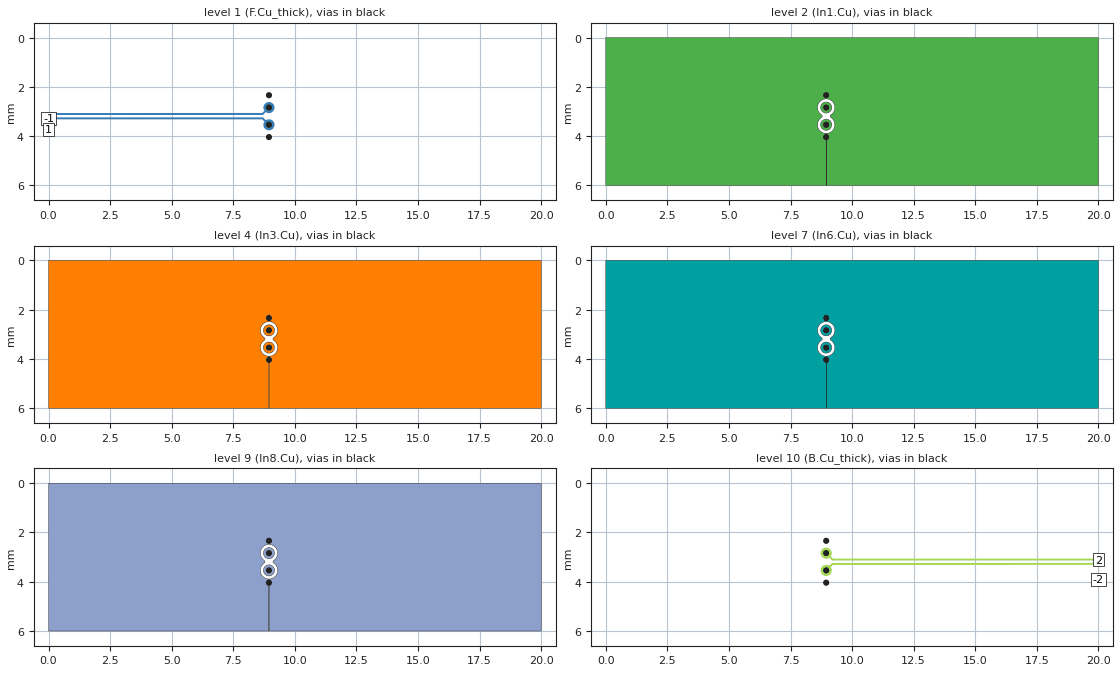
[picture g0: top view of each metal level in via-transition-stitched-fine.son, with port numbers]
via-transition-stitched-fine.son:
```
FTYP SONPROJ 19 ! Sonnet Project File
VER 18.56
HEADER
LIC antikernel2.1.52448
DAT 12/26/2023 09:36:40
BUILT_BY_CREATED xgeom 18.52 11/18/2021 20:28:07
BUILT_BY_SAVED sonnet 18.56
MDATE 12/26/2023 09:36:40
HDATE 12/26/2023 09:36:40
ANN Created by dxfgeo, Sonnet Software Inc.
END HEADER
DIM
ANG DEG
CAP PF
CON /OH
FREQ GHZ
IND NH
LNG MM
RES OH
END DIM
CONTROL
VARSWP
OPTIONS  -dj
SPEED 1
CACHE_ABS 2
Q_ACC N
END CONTROL
GEO
TMET "Free Space" 0 FREESPACE 376.7303136 0 0 0
BMET "Free Space" 0 FREESPACE 376.7303136 0 0 0
MET "Copper_1oz_thin" 1 NOR 58000000 0.5 0.035 
MET "Copper_1oz_thick" 2 TMM 58000000 0.5 0.035 2
MET "Copper_1oz_thick_down" 3 TMM 58000000 0.5 0.035 2 CDVY TDWN
MET "Copper_0.5oz_thin" 4 NOR 58000000 0.5 0.017 
MET "Copper_0.5oz_thick" 12 TMM 58000000 0.5 0.017 2
MET "Copper_0.5oz_thick_down" 5 TMM 58000000 0.5 0.017 2 CDVY TDWN
BOX 12 20 6 4000 1200 20 0
      5 1 1 0 0 0 0 "Air"
      0.04 3.5 1 0.025 0 0 0 "Soldermask"
      0.071 3.9 1 0.008 0 0 0 "TU-872_SLK"
      0.1 3.9 1 0.008 0 0 0 "TU-872_SLK"
      0.119 3.9 1 0.008 0 0 0 "TU-872_SLK"
      0.1 4.49 1 0.016 0 0 0 "Shengyi_S1000-2M"
      0.5 4.49 1 0.016 0 0 0 "Shengyi_S1000-2M"
      0.1 4.49 1 0.016 0 0 0 "Shengyi_S1000-2M"
      0.119 3.9 1 0.008 0 0 0 "TU-872_SLK"
      0.1 3.9 1 0.008 0 0 0 "TU-872_SLK"
      0.071 3.9 1 0.008 0 0 0 "TU-872_SLK"
      0.04 3.5 1 0.025 0 0 0 "Soldermask"
      5 1 1 0 0 0 0 "Air"
TECHLAY VIA Via1 L4D0 -13 -65534 CAD Via1 drawing 
VIA POLYGON
1 0 -1 N 343 1 1 100 100 0 0 0 Y
TOLEVEL 10 RING NOCOVERS
END
END
TECHLAY METAL F.Cu_thick L1D0 -2 -65534 CAD F.Cu_thick drawing 
1 0 1 N 185 1 1 100 100 0 0 0 Y
END
END
TECHLAY METAL F.Cu_thin <UNSPECIFIED> -1 -65534 CAD F.Cu_thin drawing 
1 0 0 N 187 1 1 100 100 0 0 0 Y
END
END
TECHLAY METAL In1.Cu L2D0 -3 -65534 CAD In1.Cu drawing 
2 0 0 N 190 1 1 100 100 0 0 0 Y
END
END
TECHLAY METAL In2.Cu_thick <UNSPECIFIED> -5 -65534 CAD In2.Cu_thick drawing 
3 0 4 N 193 1 1 100 100 0 0 0 Y
END
END
TECHLAY METAL In2.Cu_thin <UNSPECIFIED> -4 -65534 CAD In2.Cu drawing 
3 0 3 N 195 1 1 100 100 0 0 0 Y
END
END
TECHLAY METAL In3.Cu <UNSPECIFIED> -6 -65534 CAD In3.Cu drawing 
4 0 0 N 198 1 1 100 100 0 0 0 Y
END
END
TECHLAY METAL In4.Cu <UNSPECIFIED> -7 -65534 CAD In4.Cu drawing 
5 0 0 N 201 1 1 100 100 0 0 0 Y
END
END
TECHLAY METAL In5.Cu <UNSPECIFIED> -14 -65534 
6 0 0 N 204 1 1 100 100 0 0 0 Y
END
END
TECHLAY METAL In6.Cu <UNSPECIFIED> -15 -65534 
7 0 0 N 207 1 1 100 100 0 0 0 Y
END
END
TECHLAY METAL In7.Cu_thick <UNSPECIFIED> -9 -65534 CAD In5.Cu_thick drawing 
8 0 5 N 210 1 1 100 100 0 0 0 Y
END
END
TECHLAY METAL In7.Cu_thin <UNSPECIFIED> -8 -65534 CAD In5.Cu drawing 
8 0 3 N 212 1 1 100 100 0 0 0 Y
END
END
TECHLAY METAL In8.Cu <UNSPECIFIED> -10 -65534 CAD In6.Cu drawing 
9 0 0 N 215 1 1 100 100 0 0 0 Y
END
END
TECHLAY METAL B.Cu_thick L3D0 -12 -65534 CAD B.Cu_thick drawing 
10 0 2 N 218 1 1 100 100 0 0 0 Y
END
END
TECHLAY METAL B.Cu_thin <UNSPECIFIED> -11 -65534 CAD B.Cu_thin drawing 
10 0 0 N 220 1 1 100 100 0 0 0 Y
END
END
VALVAR CORE_ER NONE "table1(\"../../sata-sniffer/sims/core_er.csv\",FREQ)" "Variable set in material file"
VALVAR CORE_DF NONE "table1(\"../../sata-sniffer/sims/core_df.csv\",FREQ)" "Variable set in material file"
VALVAR PREPREG_DF NONE "table1(\"../../sata-sniffer/sims/prepreg_df.csv\",FREQ)" "Variable set in material file"
VALVAR PREPREG_ER NONE "table1(\"../../sata-sniffer/sims/prepreg_er.csv\",FREQ)" "Variable set in material file"
LORGN 0 6 U 
POR1 BOX
POLY 235 1
34
-1 100 0 0 0 0 3.275166449 
POR1 BOX
POLY 234 1
39
1 100 0 0 0 0 3.100833551 
POR1 BOX
POLY 281 1
71
2 100 0 0 0 20 3.100806041 
POR1 BOX
POLY 282 1
23
-2 100 0 0 0 20 3.27511874 
NUM 20
1 78 1 N 235 1 1 100 100 0 0 0 Y
TLAYNAM F.Cu_thick INH
9.171 3.505
9.166 3.483
9.16 3.462
9.151 3.442
9.141 3.422
9.129 3.404
9.115 3.387
9.099 3.371
9.082 3.357
9.064 3.345
9.044 3.335
9.024 3.326
9.003 3.32
8.981 3.315
8.959 3.313
8.937 3.313
8.915 3.315
8.893 3.32
8.872 3.326
8.852 3.335
8.832 3.345
8.819 3.353
8.72 3.254
8.718 3.251
8.715 3.249
8.712 3.246
8.709 3.244
8.705 3.242
8.702 3.241
8.701 3.241
8.698 3.24
8.69 3.238
8.686 3.238
8.682 3.239
0 3.235680626
0 3.314652272
8.672 3.318
8.763 3.409
8.755 3.422
8.745 3.442
8.736 3.462
8.73 3.483
8.725 3.505
8.723 3.527
8.723 3.549
8.725 3.571
8.73 3.593
8.736 3.614
8.745 3.634
8.755 3.654
8.767 3.672
8.781 3.689
8.797 3.705
8.814 3.719
8.832 3.731
8.852 3.741
8.872 3.75
8.893 3.756
8.915 3.761
8.937 3.763
8.959 3.763
8.981 3.761
9.003 3.756
9.024 3.75
9.044 3.741
9.064 3.731
9.082 3.719
9.099 3.705
9.115 3.689
9.129 3.672
9.141 3.654
9.151 3.634
9.16 3.614
9.166 3.593
9.171 3.571
9.173 3.549
9.173 3.527
9.171 3.505
END
1 76 1 N 234 1 1 100 100 0 0 0 Y
TLAYNAM F.Cu_thick INH
9.171 2.805
9.166 2.783
9.16 2.762
9.151 2.742
9.141 2.722
9.129 2.704
9.115 2.687
9.099 2.671
9.082 2.657
9.064 2.645
9.044 2.635
9.024 2.626
9.003 2.62
8.981 2.615
8.959 2.613
8.937 2.613
8.915 2.615
8.893 2.62
8.872 2.626
8.852 2.635
8.832 2.645
8.814 2.657
8.797 2.671
8.781 2.687
8.767 2.704
8.755 2.722
8.745 2.742
8.736 2.762
8.73 2.783
8.725 2.805
8.723 2.827
8.723 2.849
8.725 2.871
8.73 2.893
8.736 2.914
8.745 2.934
8.755 2.954
8.763 2.967
8.672 3.058
0 3.061347728
0 3.140319374
8.682 3.137
8.686 3.138
8.69 3.138
8.702 3.135
8.705 3.134
8.709 3.132
8.712 3.13
8.715 3.127
8.718 3.125
8.72 3.122
8.819 3.023
8.832 3.031
8.852 3.041
8.872 3.05
8.893 3.056
8.915 3.061
8.937 3.063
8.959 3.063
8.981 3.061
9.003 3.056
9.024 3.05
9.044 3.041
9.064 3.031
9.082 3.019
9.099 3.005
9.115 2.989
9.129 2.972
9.141 2.954
9.151 2.934
9.16 2.914
9.166 2.893
9.171 2.871
9.173 2.849
9.173 2.827
9.171 2.805
END
VIA POLYGON
1 53 -1 N 128 1 1 100 100 0 0 0 Y
TOLEVEL 10 RING NOCOVERS
9.073 3.538
9.071 3.562
9.068 3.574
9.063 3.586
9.058 3.597
9.052 3.607
9.045 3.617
9.027 3.635
9.017 3.642
9.007 3.648
8.996 3.653
8.984 3.658
8.972 3.661
8.948 3.663
8.924 3.661
8.912 3.658
8.9 3.653
8.889 3.648
8.879 3.642
8.869 3.635
8.851 3.617
8.844 3.607
8.838 3.597
8.833 3.586
8.828 3.574
8.825 3.562
8.823 3.538
8.825 3.514
8.828 3.502
8.833 3.49
8.838 3.479
8.844 3.469
8.851 3.459
8.869 3.441
8.879 3.434
8.889 3.428
8.9 3.423
8.912 3.418
8.924 3.415
8.948 3.413
8.972 3.415
8.984 3.418
8.996 3.423
9.007 3.428
9.017 3.434
9.027 3.441
9.045 3.459
9.052 3.469
9.058 3.479
9.063 3.49
9.068 3.502
9.071 3.514
9.073 3.538
END
VIA POLYGON
1 53 -1 N 129 1 1 100 100 0 0 0 Y
TOLEVEL 10 RING NOCOVERS
9.073 2.338
9.071 2.362
9.068 2.374
9.063 2.386
9.058 2.397
9.052 2.407
9.045 2.417
9.027 2.435
9.017 2.442
9.007 2.448
8.996 2.453
8.984 2.458
8.972 2.461
8.948 2.463
8.924 2.461
8.912 2.458
8.9 2.453
8.889 2.448
8.879 2.442
8.869 2.435
8.851 2.417
8.844 2.407
8.838 2.397
8.833 2.386
8.828 2.374
8.825 2.362
8.823 2.338
8.825 2.314
8.828 2.302
8.833 2.29
8.838 2.279
8.844 2.269
8.851 2.259
8.869 2.241
8.879 2.234
8.889 2.228
8.9 2.223
8.912 2.218
8.924 2.215
8.948 2.213
8.972 2.215
8.984 2.218
8.996 2.223
9.007 2.228
9.017 2.234
9.027 2.241
9.045 2.259
9.052 2.269
9.058 2.279
9.063 2.29
9.068 2.302
9.071 2.314
9.073 2.338
END
VIA POLYGON
1 53 -1 N 332 1 1 100 100 0 0 0 Y
TOLEVEL 10 RING NOCOVERS
9.073 2.838
9.071 2.862
9.068 2.874
9.063 2.886
9.058 2.897
9.052 2.907
9.045 2.917
9.027 2.935
9.017 2.942
9.007 2.948
8.996 2.953
8.984 2.958
8.972 2.961
8.948 2.963
8.924 2.961
8.912 2.958
8.9 2.953
8.889 2.948
8.879 2.942
8.869 2.935
8.851 2.917
8.844 2.907
8.838 2.897
8.833 2.886
8.828 2.874
8.825 2.862
8.823 2.838
8.825 2.814
8.828 2.802
8.833 2.79
8.838 2.779
8.844 2.769
8.851 2.759
8.869 2.741
8.879 2.734
8.889 2.728
8.9 2.723
8.912 2.718
8.924 2.715
8.948 2.713
8.972 2.715
8.984 2.718
8.996 2.723
9.007 2.728
9.017 2.734
9.027 2.741
9.045 2.759
9.052 2.769
9.058 2.779
9.063 2.79
9.068 2.802
9.071 2.814
9.073 2.838
END
VIA POLYGON
1 53 -1 N 333 1 1 100 100 0 0 0 Y
TOLEVEL 10 RING NOCOVERS
9.073 4.038
9.071 4.062
9.068 4.074
9.063 4.086
9.058 4.097
9.052 4.107
9.045 4.117
9.027 4.135
9.017 4.142
9.007 4.148
8.996 4.153
8.984 4.158
8.972 4.161
8.948 4.163
8.924 4.161
8.912 4.158
8.9 4.153
8.889 4.148
8.879 4.142
8.869 4.135
8.851 4.117
8.844 4.107
8.838 4.097
8.833 4.086
8.828 4.074
8.825 4.062
8.823 4.038
8.825 4.014
8.828 4.002
8.833 3.99
8.838 3.979
8.844 3.969
8.851 3.959
8.869 3.941
8.879 3.934
8.889 3.928
8.9 3.923
8.912 3.918
8.924 3.915
8.948 3.913
8.972 3.915
8.984 3.918
8.996 3.923
9.007 3.928
9.017 3.934
9.027 3.941
9.045 3.959
9.052 3.969
9.058 3.979
9.063 3.99
9.068 4.002
9.071 4.014
9.073 4.038
END
2 65 0 N 53 1 1 100 100 0 0 0 Y
TLAYNAM In1.Cu INH
9.173 2.849
9.171 2.871
9.166 2.893
9.16 2.914
9.151 2.934
9.141 2.954
9.129 2.972
9.115 2.989
9.099 3.005
9.082 3.019
9.064 3.031
9.044 3.041
9.024 3.05
9.003 3.056
8.981 3.061
8.959 3.063
8.937 3.063
8.915 3.061
8.893 3.056
8.872 3.05
8.852 3.041
8.832 3.031
8.814 3.019
8.797 3.005
8.781 2.989
8.767 2.972
8.755 2.954
8.745 2.934
8.736 2.914
8.73 2.893
8.725 2.871
8.723 2.849
8.723 2.827
8.725 2.805
8.73 2.783
8.736 2.762
8.745 2.742
8.755 2.722
8.767 2.704
8.781 2.687
8.797 2.671
8.814 2.657
8.832 2.645
8.852 2.635
8.872 2.626
8.893 2.62
8.915 2.615
8.937 2.613
8.959 2.613
8.981 2.615
9.003 2.62
9.024 2.626
9.044 2.635
9.064 2.645
9.082 2.657
9.099 2.671
9.115 2.687
9.129 2.704
9.141 2.722
9.151 2.742
9.16 2.762
9.166 2.783
9.171 2.805
9.173 2.827
9.173 2.849
END
2 65 0 N 52 1 1 100 100 0 0 0 Y
TLAYNAM In1.Cu INH
9.173 3.549
9.171 3.571
9.166 3.593
9.16 3.614
9.151 3.634
9.141 3.654
9.129 3.672
9.115 3.689
9.099 3.705
9.082 3.719
9.064 3.731
9.044 3.741
9.024 3.75
9.003 3.756
8.981 3.761
8.959 3.763
8.937 3.763
8.915 3.761
8.893 3.756
8.872 3.75
8.852 3.741
8.832 3.731
8.814 3.719
8.797 3.705
8.781 3.689
8.767 3.672
8.755 3.654
8.745 3.634
8.736 3.614
8.73 3.593
8.725 3.571
8.723 3.549
8.723 3.527
8.725 3.505
8.73 3.483
8.736 3.462
8.745 3.442
8.755 3.422
8.767 3.404
8.781 3.387
8.797 3.371
8.814 3.357
8.832 3.345
8.852 3.335
8.872 3.326
8.893 3.32
8.915 3.315
8.937 3.313
8.959 3.313
8.981 3.315
9.003 3.32
9.024 3.326
9.044 3.335
9.064 3.345
9.082 3.357
9.099 3.371
9.115 3.387
9.129 3.404
9.141 3.422
9.151 3.442
9.16 3.462
9.166 3.483
9.171 3.505
9.173 3.527
9.173 3.549
END
2 51 0 N 273 1 1 100 100 0 0 0 Y
TLAYNAM In1.Cu INH
20 0
0 0
0 6
8.948 6
8.948 3.893
8.839 3.875
8.74 3.825
8.661 3.747
8.611 3.648
8.594 3.538
8.611 3.428
8.661 3.329
8.74 3.251
8.756 3.243
8.783 3.216
8.786 3.169
8.756 3.133
8.74 3.125
8.661 3.047
8.611 2.948
8.594 2.838
8.611 2.728
8.661 2.629
8.74 2.551
8.754 2.544
8.839 2.5
8.948 2.483
9.058 2.5
9.157 2.551
9.236 2.629
9.286 2.728
9.303 2.838
9.286 2.948
9.236 3.047
9.157 3.125
9.141 3.133
9.114 3.16
9.111 3.207
9.141 3.243
9.157 3.251
9.236 3.329
9.286 3.428
9.303 3.538
9.286 3.648
9.236 3.747
9.157 3.825
9.058 3.875
8.948 3.893
8.948 6
20 6
20 0
END
4 65 0 N 305 1 1 100 100 0 0 0 Y
TLAYNAM In3.Cu INH
9.173 3.549
9.171 3.571
9.166 3.593
9.16 3.614
9.151 3.634
9.141 3.654
9.129 3.672
9.115 3.689
9.099 3.705
9.082 3.719
9.064 3.731
9.044 3.741
9.024 3.75
9.003 3.756
8.981 3.761
8.959 3.763
8.937 3.763
8.915 3.761
8.893 3.756
8.872 3.75
8.852 3.741
8.832 3.731
8.814 3.719
8.797 3.705
8.781 3.689
8.767 3.672
8.755 3.654
8.745 3.634
8.736 3.614
8.73 3.593
8.725 3.571
8.723 3.549
8.723 3.527
8.725 3.505
8.73 3.483
8.736 3.462
8.745 3.442
8.755 3.422
8.767 3.404
8.781 3.387
8.797 3.371
8.814 3.357
8.832 3.345
8.852 3.335
8.872 3.326
8.893 3.32
8.915 3.315
8.937 3.313
8.959 3.313
8.981 3.315
9.003 3.32
9.024 3.326
9.044 3.335
9.064 3.345
9.082 3.357
9.099 3.371
9.115 3.387
9.129 3.404
9.141 3.422
9.151 3.442
9.16 3.462
9.166 3.483
9.171 3.505
9.173 3.527
9.173 3.549
END
4 65 0 N 306 1 1 100 100 0 0 0 Y
TLAYNAM In3.Cu INH
9.173 2.849
9.171 2.871
9.166 2.893
9.16 2.914
9.151 2.934
9.141 2.954
9.129 2.972
9.115 2.989
9.099 3.005
9.082 3.019
9.064 3.031
9.044 3.041
9.024 3.05
9.003 3.056
8.981 3.061
8.959 3.063
8.937 3.063
8.915 3.061
8.893 3.056
8.872 3.05
8.852 3.041
8.832 3.031
8.814 3.019
8.797 3.005
8.781 2.989
8.767 2.972
8.755 2.954
8.745 2.934
8.736 2.914
8.73 2.893
8.725 2.871
8.723 2.849
8.723 2.827
8.725 2.805
8.73 2.783
8.736 2.762
8.745 2.742
8.755 2.722
8.767 2.704
8.781 2.687
8.797 2.671
8.814 2.657
8.832 2.645
8.852 2.635
8.872 2.626
8.893 2.62
8.915 2.615
8.937 2.613
8.959 2.613
8.981 2.615
9.003 2.62
9.024 2.626
9.044 2.635
9.064 2.645
9.082 2.657
9.099 2.671
9.115 2.687
9.129 2.704
9.141 2.722
9.151 2.742
9.16 2.762
9.166 2.783
9.171 2.805
9.173 2.827
9.173 2.849
END
4 51 0 N 307 1 1 100 100 0 0 0 Y
TLAYNAM In3.Cu INH
20 0
0 0
0 6
8.948 6
8.948 3.893
8.839 3.875
8.74 3.825
8.661 3.747
8.611 3.648
8.594 3.538
8.611 3.428
8.661 3.329
8.74 3.251
8.756 3.243
8.783 3.216
8.786 3.169
8.756 3.133
8.74 3.125
8.661 3.047
8.611 2.948
8.594 2.838
8.611 2.728
8.661 2.629
8.74 2.551
8.754 2.544
8.839 2.5
8.948 2.483
9.058 2.5
9.157 2.551
9.236 2.629
9.286 2.728
9.303 2.838
9.286 2.948
9.236 3.047
9.157 3.125
9.141 3.133
9.114 3.16
9.111 3.207
9.141 3.243
9.157 3.251
9.236 3.329
9.286 3.428
9.303 3.538
9.286 3.648
9.236 3.747
9.157 3.825
9.058 3.875
8.948 3.893
8.948 6
20 6
20 0
END
7 65 0 N 308 1 1 100 100 0 0 0 Y
TLAYNAM In6.Cu INH
9.173 3.549
9.171 3.571
9.166 3.593
9.16 3.614
9.151 3.634
9.141 3.654
9.129 3.672
9.115 3.689
9.099 3.705
9.082 3.719
9.064 3.731
9.044 3.741
9.024 3.75
9.003 3.756
8.981 3.761
8.959 3.763
8.937 3.763
8.915 3.761
8.893 3.756
8.872 3.75
8.852 3.741
8.832 3.731
8.814 3.719
8.797 3.705
8.781 3.689
8.767 3.672
8.755 3.654
8.745 3.634
8.736 3.614
8.73 3.593
8.725 3.571
8.723 3.549
8.723 3.527
8.725 3.505
8.73 3.483
8.736 3.462
8.745 3.442
8.755 3.422
8.767 3.404
8.781 3.387
8.797 3.371
8.814 3.357
8.832 3.345
8.852 3.335
8.872 3.326
8.893 3.32
8.915 3.315
8.937 3.313
8.959 3.313
8.981 3.315
9.003 3.32
9.024 3.326
9.044 3.335
9.064 3.345
9.082 3.357
9.099 3.371
9.115 3.387
9.129 3.404
9.141 3.422
9.151 3.442
9.16 3.462
9.166 3.483
9.171 3.505
9.173 3.527
9.173 3.549
END
7 65 0 N 309 1 1 100 100 0 0 0 Y
TLAYNAM In6.Cu INH
9.173 2.849
9.171 2.871
9.166 2.893
9.16 2.914
9.151 2.934
9.141 2.954
9.129 2.972
9.115 2.989
9.099 3.005
9.082 3.019
9.064 3.031
9.044 3.041
9.024 3.05
9.003 3.056
8.981 3.061
8.959 3.063
8.937 3.063
8.915 3.061
8.893 3.056
8.872 3.05
8.852 3.041
8.832 3.031
8.814 3.019
8.797 3.005
8.781 2.989
8.767 2.972
8.755 2.954
8.745 2.934
8.736 2.914
8.73 2.893
8.725 2.871
8.723 2.849
8.723 2.827
8.725 2.805
8.73 2.783
8.736 2.762
8.745 2.742
8.755 2.722
8.767 2.704
8.781 2.687
8.797 2.671
8.814 2.657
8.832 2.645
8.852 2.635
8.872 2.626
8.893 2.62
8.915 2.615
8.937 2.613
8.959 2.613
8.981 2.615
9.003 2.62
9.024 2.626
9.044 2.635
9.064 2.645
9.082 2.657
9.099 2.671
9.115 2.687
9.129 2.704
9.141 2.722
9.151 2.742
9.16 2.762
9.166 2.783
9.171 2.805
9.173 2.827
9.173 2.849
END
7 51 0 N 310 1 1 100 100 0 0 0 Y
TLAYNAM In6.Cu INH
20 0
0 0
0 6
8.948 6
8.948 3.893
8.839 3.875
8.74 3.825
8.661 3.747
8.611 3.648
8.594 3.538
8.611 3.428
8.661 3.329
8.74 3.251
8.756 3.243
8.783 3.216
8.786 3.169
8.756 3.133
8.74 3.125
8.661 3.047
8.611 2.948
8.594 2.838
8.611 2.728
8.661 2.629
8.74 2.551
8.754 2.544
8.839 2.5
8.948 2.483
9.058 2.5
9.157 2.551
9.236 2.629
9.286 2.728
9.303 2.838
9.286 2.948
9.236 3.047
9.157 3.125
9.141 3.133
9.114 3.16
9.111 3.207
9.141 3.243
9.157 3.251
9.236 3.329
9.286 3.428
9.303 3.538
9.286 3.648
9.236 3.747
9.157 3.825
9.058 3.875
8.948 3.893
8.948 6
20 6
20 0
END
9 65 0 N 311 1 1 100 100 0 0 0 Y
TLAYNAM In8.Cu INH
9.173 3.549
9.171 3.571
9.166 3.593
9.16 3.614
9.151 3.634
9.141 3.654
9.129 3.672
9.115 3.689
9.099 3.705
9.082 3.719
9.064 3.731
9.044 3.741
9.024 3.75
9.003 3.756
8.981 3.761
8.959 3.763
8.937 3.763
8.915 3.761
8.893 3.756
8.872 3.75
8.852 3.741
8.832 3.731
8.814 3.719
8.797 3.705
8.781 3.689
8.767 3.672
8.755 3.654
8.745 3.634
8.736 3.614
8.73 3.593
8.725 3.571
8.723 3.549
8.723 3.527
8.725 3.505
8.73 3.483
8.736 3.462
8.745 3.442
8.755 3.422
8.767 3.404
8.781 3.387
8.797 3.371
8.814 3.357
8.832 3.345
8.852 3.335
8.872 3.326
8.893 3.32
8.915 3.315
8.937 3.313
8.959 3.313
8.981 3.315
9.003 3.32
9.024 3.326
9.044 3.335
9.064 3.345
9.082 3.357
9.099 3.371
9.115 3.387
9.129 3.404
9.141 3.422
9.151 3.442
9.16 3.462
9.166 3.483
9.171 3.505
9.173 3.527
9.173 3.549
END
9 65 0 N 312 1 1 100 100 0 0 0 Y
TLAYNAM In8.Cu INH
9.173 2.849
9.171 2.871
9.166 2.893
9.16 2.914
9.151 2.934
9.141 2.954
9.129 2.972
9.115 2.989
9.099 3.005
9.082 3.019
9.064 3.031
9.044 3.041
9.024 3.05
9.003 3.056
8.981 3.061
8.959 3.063
8.937 3.063
8.915 3.061
8.893 3.056
8.872 3.05
8.852 3.041
8.832 3.031
8.814 3.019
8.797 3.005
8.781 2.989
8.767 2.972
8.755 2.954
8.745 2.934
8.736 2.914
8.73 2.893
8.725 2.871
8.723 2.849
8.723 2.827
8.725 2.805
8.73 2.783
8.736 2.762
8.745 2.742
8.755 2.722
8.767 2.704
8.781 2.687
8.797 2.671
8.814 2.657
8.832 2.645
8.852 2.635
8.872 2.626
8.893 2.62
8.915 2.615
8.937 2.613
8.959 2.613
8.981 2.615
9.003 2.62
9.024 2.626
9.044 2.635
9.064 2.645
9.082 2.657
9.099 2.671
9.115 2.687
9.129 2.704
9.141 2.722
9.151 2.742
9.16 2.762
9.166 2.783
9.171 2.805
9.173 2.827
9.173 2.849
END
9 51 0 N 313 1 1 100 100 0 0 0 Y
TLAYNAM In8.Cu INH
20 0
0 0
0 6
8.948 6
8.948 3.893
8.839 3.875
8.74 3.825
8.661 3.747
8.611 3.648
8.594 3.538
8.611 3.428
8.661 3.329
8.74 3.251
8.756 3.243
8.783 3.216
8.786 3.169
8.756 3.133
8.74 3.125
8.661 3.047
8.611 2.948
8.594 2.838
8.611 2.728
8.661 2.629
8.74 2.551
8.754 2.544
8.839 2.5
8.948 2.483
9.058 2.5
9.157 2.551
9.236 2.629
9.286 2.728
9.303 2.838
9.286 2.948
9.236 3.047
9.157 3.125
9.141 3.133
9.114 3.16
9.111 3.207
9.141 3.243
9.157 3.251
9.236 3.329
9.286 3.428
9.303 3.538
9.286 3.648
9.236 3.747
9.157 3.825
9.058 3.875
8.948 3.893
8.948 6
20 6
20 0
END
10 73 2 N 281 1 1 100 100 0 0 0 Y
TLAYNAM B.Cu_thick INH
20 3.061304508
9.224 3.058
9.133 2.967
9.141 2.954
9.151 2.934
9.16 2.914
9.166 2.893
9.171 2.871
9.173 2.849
9.173 2.827
9.171 2.805
9.166 2.783
9.16 2.762
9.151 2.742
9.141 2.722
9.129 2.704
9.115 2.687
9.099 2.671
9.082 2.657
9.064 2.645
9.044 2.635
9.024 2.626
9.003 2.62
8.981 2.615
8.959 2.613
8.937 2.613
8.915 2.615
8.893 2.62
8.872 2.626
8.852 2.635
8.832 2.645
8.814 2.657
8.797 2.671
8.781 2.687
8.767 2.704
8.755 2.722
8.745 2.742
8.736 2.762
8.73 2.783
8.725 2.805
8.723 2.827
8.723 2.849
8.725 2.871
8.73 2.893
8.736 2.914
8.745 2.934
8.755 2.954
8.767 2.972
8.781 2.989
8.797 3.005
8.814 3.019
8.832 3.031
8.852 3.041
8.872 3.05
8.893 3.056
8.915 3.061
8.937 3.063
8.959 3.063
8.981 3.061
9.003 3.056
9.024 3.05
9.044 3.041
9.064 3.031
9.077 3.023
9.184 3.13
9.188 3.132
9.191 3.134
9.195 3.135
9.198 3.136
9.202 3.137
9.214 3.137
20 3.140307574
20 3.061304508
END
10 73 2 N 282 1 1 100 100 0 0 0 Y
TLAYNAM B.Cu_thick INH
8.981 3.761
9.003 3.756
9.024 3.75
9.044 3.741
9.064 3.731
9.082 3.719
9.099 3.705
9.115 3.689
9.129 3.672
9.141 3.654
9.151 3.634
9.16 3.614
9.166 3.593
9.171 3.571
9.173 3.549
9.173 3.527
9.171 3.505
9.166 3.483
9.16 3.462
9.151 3.442
9.141 3.422
9.133 3.409
9.224 3.318
20 3.314607053
20 3.235630428
9.214 3.239
9.202 3.239
9.198 3.24
9.195 3.241
9.191 3.242
9.188 3.244
9.184 3.246
9.077 3.353
9.064 3.345
9.044 3.335
9.024 3.326
9.003 3.32
8.981 3.315
8.959 3.313
8.937 3.313
8.915 3.315
8.893 3.32
8.872 3.326
8.852 3.335
8.832 3.345
8.814 3.357
8.797 3.371
8.781 3.387
8.767 3.404
8.755 3.422
8.745 3.442
8.736 3.462
8.73 3.483
8.725 3.505
8.723 3.527
8.723 3.549
8.725 3.571
8.73 3.593
8.736 3.614
8.745 3.634
8.755 3.654
8.767 3.672
8.781 3.689
8.797 3.705
8.814 3.719
8.832 3.731
8.852 3.741
8.872 3.75
8.893 3.756
8.915 3.761
8.937 3.763
8.959 3.763
8.981 3.761
END
END GEO
OPT
MAX 100
END OPT
VARSWP
ENABLED Y
FREQ Y AY ABS_ENTRY 0.01 16.0 -1 300 
END
END VARSWP
```
